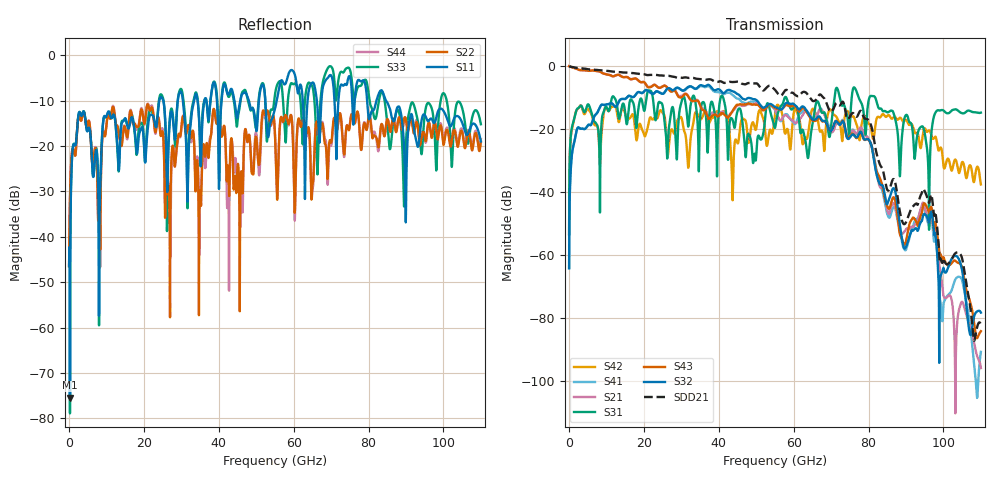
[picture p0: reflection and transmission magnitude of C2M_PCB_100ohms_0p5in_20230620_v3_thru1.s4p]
! Info: Touchstone file created by Circ.  Input file=C2M_PCB_100ohms_0p5in_20230620_v3.circ
# Hz S RI R 50
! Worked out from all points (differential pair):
!   11000 points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, 10 MHz to 110 GHz, reference 50 ohm
!   strongest paths, dB at 10 MHz, 27.51 GHz, 55.01 GHz, 82.51 GHz, 110 GHz:
!     S32: -64.2, -7.7, -12.9, -36.0, -78.3
!     S43: 0.0, -8.1, -13.3, -34.3, -84.2
!     S31: -53.5, -13.2, -19.6, -12.9, -14.8
!     S21: 0.0, -7.7, -13.8, -36.2, -95.9
!     S41: -64.2, -7.8, -14.0, -34.9, -90.8
!     S42: -53.3, -20.1, -15.5, -16.1, -37.6
!   taken as a pair (ports 3,1 in; 4,2 out), SDD21 dB: 0.0, -3.4, -7.5, -29.4, -82.2
!   lowest |S11| = -75.4 dB at 240 MHz (marker M1), VSWR 1.00, Z = 50 - j0.016 ohm
!   |S11| at or under -10 dB: start of sweep to 24.11 GHz; 25.15 GHz to 29.02 GHz (3.869 GHz wide, 14.3 % of centre); 84.65 GHz to end of sweep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
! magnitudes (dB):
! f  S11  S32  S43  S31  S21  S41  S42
! 10 MHz  -46.4  -64.2  0.0  -53.5  0.0  -64.2  -53.3
! 240 MHz  -75.4  -38.4  -0.2  -26.8  -0.2  -38.4  -26.9
! 2.89 GHz  -12.6  -19.8  -1.3  -12.8  -1.3  -19.8  -12.7
! 8 GHz  -56.4  -13.7  -1.7  -23.7  -1.7  -13.7  -24.6
! 18.48 GHz  -19.0  -8.3  -4.6  -13.8  -4.6  -8.2  -20.0
! 67.27 GHz  -12.1  -16.7  -17.1  -14.3  -13.6  -13.5  -20.7
! 110 GHz  -19.0  -78.3  -84.2  -14.8  -95.9  -90.8  -37.6
